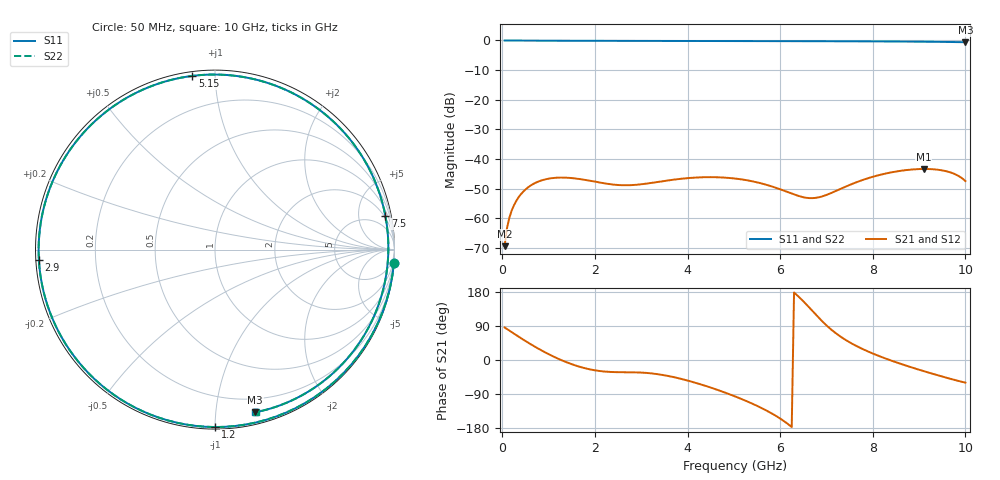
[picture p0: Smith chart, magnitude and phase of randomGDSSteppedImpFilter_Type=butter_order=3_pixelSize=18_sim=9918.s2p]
! freq	dB(S11)	phase(S11)	dB(S12)	phase(S12)
!  dB(S21)	phase(S21)	dB(S22)	phase(S22)
!S-par simulation data
#  GHz  S  DB  R 50
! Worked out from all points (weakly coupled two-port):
!   200 points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, 50 MHz to 10 GHz, reference 50 ohm
!   highest |S21| = -43.38 dB at 9.1 GHz (marker M1); lowest = -69.4 dB at 50 MHz (marker M2)
!   lowest |S11| = -0.6 dB at 10 GHz (marker M3), VSWR 29.13, Z = 4.5 - j63.6 ohm
!   |S11| at or under -10 dB: nowhere
!   |S22| runs from -0.6 to 0.0 dB; largest |S21 - S12| = 0
!   S11 on the Smith chart (normalised r, x): 50 MHz: 0, -28; 1.2 GHz: 0.01, -1.00; 2.9 GHz: 0.01, -0.03; 5.15 GHz: 0.02, +0.88; 7.5 GHz: 2, +10; 10 GHz: 0.09, -1.27
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0.05  -0.00 -4.1  -69.44 85.8  -69.44 85.8  -0.00 -4.1
0.1  -0.01 -8.2  -63.45 81.7  -63.45 81.7  -0.01 -8.2
0.15  -0.02 -12.3  -59.98 77.7  -59.98 77.7  -0.02 -12.3
0.25  -0.03 -20.5  -55.69 69.6  -55.69 69.6  -0.03 -20.5
0.4  -0.05 -32.4  -51.95 57.8  -51.95 57.8  -0.05 -32.4
0.8  -0.08 -62.7  -47.50 28.4  -47.50 28.4  -0.08 -62.7
1.2  -0.10 -90.0  -46.31 3.7  -46.31 3.7  -0.10 -90.0
1.45  -0.11 -105.5  -46.38 -8.9  -46.38 -8.9  -0.11 -105.5
1.75  -0.12 -122.5  -46.97 -20.6  -46.97 -20.6  -0.12 -122.5
2.3  -0.14 -150.1  -48.46 -31.3  -48.46 -31.3  -0.14 -150.1
2.9  -0.15 -176.6  -48.71 -32.7  -48.71 -32.7  -0.15 -176.6
3.4  -0.16 163.2  -47.66 -38.2  -47.66 -38.2  -0.16 163.2
4.25  -0.18 130.8  -46.22 -63.0  -46.22 -63.0  -0.18 130.9
5.05  -0.21 101.2  -46.65 -97.2  -46.65 -97.2  -0.21 101.2
5.15  -0.21 97.5  -46.86 -102.1  -46.86 -102.1  -0.21 97.5
5.9  -0.23 69.7  -49.69 -146.8  -49.69 -146.8  -0.23 69.8
6.7  -0.26 40.3  -53.22 129.0  -53.22 129.0  -0.26 40.3
7.5  -0.29 11.2  -48.77 46.7  -48.77 46.7  -0.29 11.3
8.35  -0.34 -18.7  -44.68 0.6  -44.68 0.6  -0.34 -18.6
9.1  -0.42 -44.4  -43.38 -29.4  -43.38 -29.4  -0.42 -44.2
9.65  -0.51 -63.5  -44.41 -48.8  -44.41 -48.8  -0.51 -63.2
10  -0.60 -76.2  -47.45 -59.8  -47.45 -59.8  -0.59 -75.8
